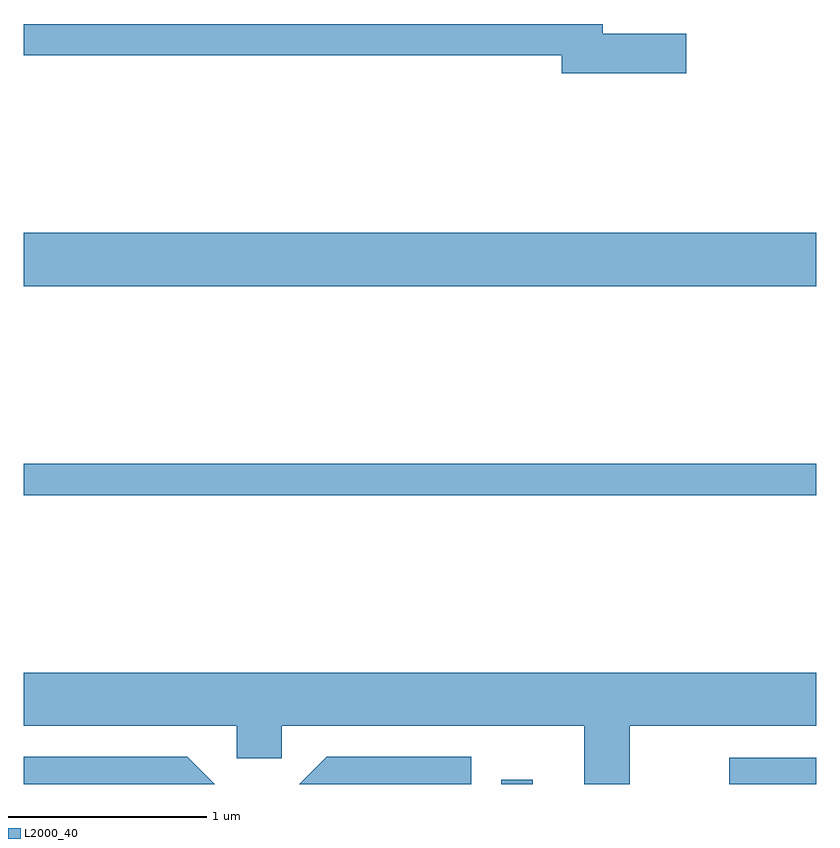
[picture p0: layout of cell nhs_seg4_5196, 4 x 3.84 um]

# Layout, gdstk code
import gdstk
lib = gdstk.Library(unit=1e-6, precision=1e-09)
def R(c, l, rs):  # rectangles x0, y0, x1, y1
    for r in rs: c.add(gdstk.rectangle(r[:2], r[2:], *l))
def P(c, l, *ps):  # polygons
    for p in ps: c.add(gdstk.Polygon(p, *l))
L2000_40 = (2000, 40)

nhs_seg4_5196 = lib.new_cell('nhs_seg4_5196')
R(nhs_seg4_5196, L2000_40, [(340.021,1309.982,340.179,1310.003), (341.173,1309.982,341.611,1310.114), (337.611,1311.441,341.611,1311.599), (337.611,1312.496,341.611,1312.764)])
P(nhs_seg4_5196, L2000_40, [(340.954,1313.769),(340.534,1313.769),(340.534,1313.819),(337.611,1313.819),(337.611,1313.661),(340.326,1313.661),(340.326,1313.571),(340.954,1313.571)],
  [(340.669,1310.276),(341.611,1310.276),(341.611,1310.544),(337.611,1310.544),(337.611,1310.276),(338.686,1310.276),(338.686,1310.111),(338.914,1310.111),(338.914,1310.276),(340.441,1310.276),(340.441,1309.982),(340.669,1309.982)],
  [(339.869,1310.119),(339.139,1310.119),(339.002,1309.982),(339.869,1309.982)],
  [(338.437,1310.119),(337.611,1310.119),(337.611,1309.982),(338.574,1309.982)])

lib.write_gds('nhs_seg4_5196.gds')
